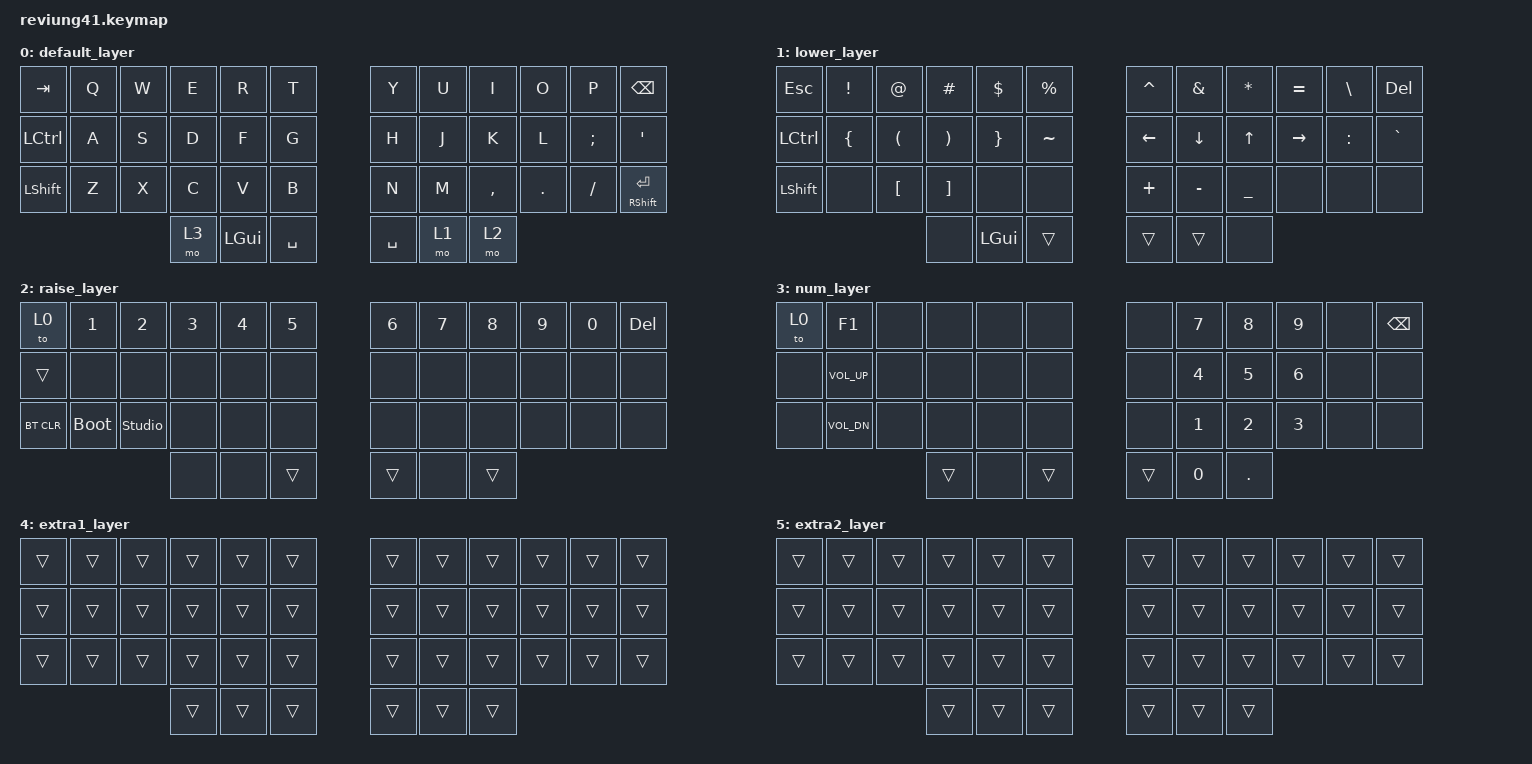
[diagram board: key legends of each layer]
/*
 * Copyright (c) 2020 The ZMK Contributors
 *
 * SPDX-License-Identifier: MIT
 */

#include <behaviors.dtsi>
#include <dt-bindings/zmk/keys.h>
#include <dt-bindings/zmk/bt.h>
#include <dt-bindings/zmk/rgb.h>
#include <behaviors/studio_unlock.dtsi> // Wajib ditambahkan agar &studio_unlock dikenali

/ {
        keymap {
                compatible = "zmk,keymap";

                default_layer {
//
// ------------------------------------------------------------------------------------
// |  TAB |  Q  |  W  |  E  |  R  |  T  |||||  Y  |  U  |  I  |  O  |  P  |   BKSP    |
// | CTRL |  A  |  S  |  D  |  F  |  G  |||||  H  |  J  |  K  |  L  |  ;  |    ''     |
// | SHFT |  Z  |  X  |  C  |  V  |  B  |||||  N  |  M  |  ,  |  .  |  /  | SHFT(RET) |
//                         | NUM | GUI | SPC | SPC | LWR | RSE |
//
                        bindings = <
   &kp TAB   &kp Q &kp W &kp E &kp R &kp T   &kp Y &kp U  &kp I     &kp O   &kp P    &kp BSPC
   &kp LCTRL &kp A &kp S &kp D &kp F &kp G   &kp H &kp J  &kp K     &kp L   &kp SEMI &kp SQT
   &kp LSHFT &kp Z &kp X &kp C &kp V &kp B   &kp N &kp M  &kp COMMA &kp DOT &kp FSLH &mt RSHFT RET
                      &mo 3  &kp LGUI &kp SPACE &kp SPACE &mo 1  &mo 2
                        >;
                };

                lower_layer {
//
// -------------------------------------------------------------------------------
// | ESC  |  !  |  @  |  #  |  $  |  %  ||||||  ^  |  &  |  *  |  =  |  \  | DEL |
// | CTRL |  {  |  (  |  )  |  }  |  ~  ||||||  ←  |  ↓  |  ↑  |  →  |  :  |  `  |
// | SHFT |     |  [  |  ]  |     |     ||||||  +  |  -  |  _  |     |     |     |
//                        |     | GUI | trans | trans | trans |     |
//
                        bindings = <
   &kp ESC   &kp EXCL &kp AT   &kp HASH  &kp DLLR  &kp PRCNT     &kp CARET &kp AMPS  &kp ASTRK &kp EQUAL &kp BSLH  &kp DEL
   &kp LCTRL &kp LBRC &kp LPAR &kp RPAR  &kp RBRC  &kp TILDE     &kp LEFT  &kp DOWN  &kp UP    &kp RIGHT &kp COLON &kp GRAVE
   &kp LSHFT &none    &kp LBKT &kp RBKT  &none     &none         &kp PLUS  &kp MINUS &kp UNDER &none     &none     &none
                                    &none      &kp LGUI    &trans    &trans      &trans      &none
                        >;
                };

                raise_layer {
//
// -------------------------------------------------------------------------------
// | LY0 |  1  |  2  |  3  |  4  |  5  |||||  6  |  7  |  8  |  9  |  0  |  DEL  |
// |     |     |     |     |     |     |||||     |     |     |     |     |       |
// |BTCLR| BOOT| ULCK|     |     |     |||||     |     |     |     |     |       |
//                        |     |     |     |     |     |     |
//
                        bindings = <
   &to 0        &kp N1       &kp N2      &kp N3   &kp N4   &kp N5         &kp N6    &kp N7   &kp N8    &kp N9    &kp N0    &kp DEL
   &trans       &none        &none       &none    &none    &none          &none     &none    &none     &none     &none     &none
   &bt BT_CLR   &bootloader  &studio_unlock &none &none    &none          &none     &none    &none     &none     &none     &none
                                           &none      &none       &trans    &trans        &none       &trans
                        >;
                };

                num_layer {
//
// ---------------------------------------------------------------------------------
// | LY0 |  F1  |     |     |     |     |||||||     |  7  |  8  |  9  |     | BKSP |
// |     | VOL+ |     |     |     |     |||||||     |  4  |  5  |  6  |     |      |
// |     | VOL- |     |     |     |     |||||||     |  1  |  2  |  3  |     |      |
//                         |     |     |       |       |  0  |  .  |
//
                        bindings = <
   &to 0 &kp F1       &none &none &none &none    &none &kp N7 &kp N8 &kp N9 &none &kp BSPC
   &none &kp C_VOL_UP &none &none &none &none    &none &kp N4 &kp N5 &kp N6 &none &none
   &none &kp C_VOL_DN &none &none &none &none    &none &kp N1 &kp N2 &kp N3 &none &none
                               &trans &none &trans &trans &kp N0 &kp DOT
                        >;
                };

                extra1_layer {
// Layer 5 - Kosong (siap diisi di ZMK Studio)
                        bindings = <
   &trans &trans &trans &trans &trans &trans     &trans &trans &trans &trans &trans &trans
   &trans &trans &trans &trans &trans &trans     &trans &trans &trans &trans &trans &trans
   &trans &trans &trans &trans &trans &trans     &trans &trans &trans &trans &trans &trans
                               &trans &trans &trans &trans &trans &trans
                        >;
                };

                extra2_layer {
// Layer 6 - Kosong (siap diisi di ZMK Studio)
                        bindings = <
   &trans &trans &trans &trans &trans &trans     &trans &trans &trans &trans &trans &trans
   &trans &trans &trans &trans &trans &trans     &trans &trans &trans &trans &trans &trans
   &trans &trans &trans &trans &trans &trans     &trans &trans &trans &trans &trans &trans
                               &trans &trans &trans &trans &trans &trans
                        >;
                };
        };
};
